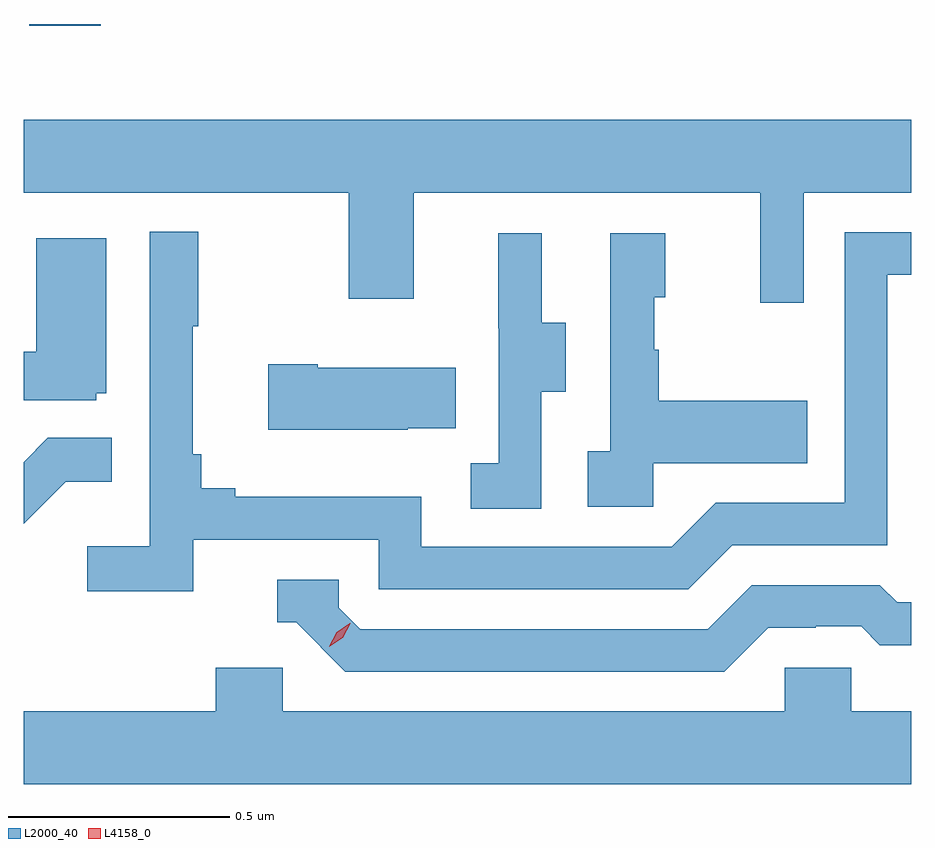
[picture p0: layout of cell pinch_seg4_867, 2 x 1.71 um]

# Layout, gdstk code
import gdstk
lib = gdstk.Library(unit=1e-6, precision=1e-09)
def R(c, l, rs):  # rectangles x0, y0, x1, y1
    for r in rs: c.add(gdstk.rectangle(r[:2], r[2:], *l))
def P(c, l, *ps):  # polygons
    for p in ps: c.add(gdstk.Polygon(p, *l))
L2000_40 = (2000, 40)
L4158_0 = (4158, 0)

pinch_seg4_867 = lib.new_cell('pinch_seg4_867')
R(pinch_seg4_867, L2000_40, [(868.847,795.864,869.008,795.868)])
P(pinch_seg4_867, L2000_40, [(870.591,795.488),(870.834,795.488),(870.834,795.652),(868.834,795.652),(868.834,795.488),(869.566,795.488),(869.566,795.249),(869.713,795.249),(869.713,795.488),(870.494,795.488),(870.494,795.24),(870.591,795.24)],
  [(869.216,794.706),(869.634,794.706),(869.634,794.595),(870.331,794.595),(870.43,794.694),(870.78,794.694),(870.78,795.303),(870.834,795.303),(870.834,795.399),(870.684,795.399),(870.684,794.79),(870.393,794.79),(870.294,794.691),(869.73,794.691),(869.73,794.803),(869.311,794.803),(869.311,794.822),(869.234,794.822),(869.234,794.899),(869.215,794.899),(869.215,795.187),(869.227,795.187),(869.227,795.4),(869.118,795.4),(869.118,794.692),(868.977,794.692),(868.977,794.59),(869.216,794.59)],
  [(870,795.04),(870.055,795.04),(870.055,795.195),(870.001,795.195),(870.001,795.397),(869.903,795.397),(869.903,795.183),(869.904,795.183),(869.904,794.879),(869.841,794.879),(869.841,794.776),(870,794.776)],
  [(870.252,794.879),(870.599,794.879),(870.599,795.019),(870.265,795.019),(870.265,795.134),(870.255,795.134),(870.255,795.252),(870.28,795.252),(870.28,795.397),(870.156,795.397),(870.156,794.906),(870.105,794.906),(870.105,794.781),(870.252,794.781)],
  [(868.998,795.036),(869.02,795.036),(869.02,795.385),(868.862,795.385),(868.862,795.13),(868.834,795.13),(868.834,795.021),(868.998,795.021)],
  [(869.699,794.957),(869.807,794.957),(869.807,795.094),(869.497,795.094),(869.497,795.102),(869.385,795.102),(869.385,794.954),(869.699,794.954)],
  [(868.929,794.837),(869.033,794.837),(869.033,794.936),(868.889,794.936),(868.834,794.881),(868.834,794.742)],
  [(870.511,794.508),(870.618,794.508),(870.618,794.511),(870.721,794.511),(870.763,794.469),(870.834,794.469),(870.834,794.565),(870.802,794.565),(870.763,794.604),(870.474,794.604),(870.375,794.505),(869.592,794.505),(869.544,794.553),(869.544,794.616),(869.405,794.616),(869.405,794.52),(869.448,794.52),(869.559,794.409),(870.412,794.409)],
  [(870.834,794.32),(870.699,794.32),(870.699,794.418),(870.549,794.418),(870.549,794.32),(869.418,794.32),(869.418,794.418),(869.267,794.418),(869.267,794.32),(868.834,794.32),(868.834,794.156),(870.834,794.156)])
P(pinch_seg4_867, L4158_0, [(869.523,794.465),(869.523,794.466),(869.539,794.498),(869.569,794.518),(869.57,794.518),(869.57,794.517),(869.553,794.485),(869.523,794.465)])

lib.write_gds('pinch_seg4_867.gds')
